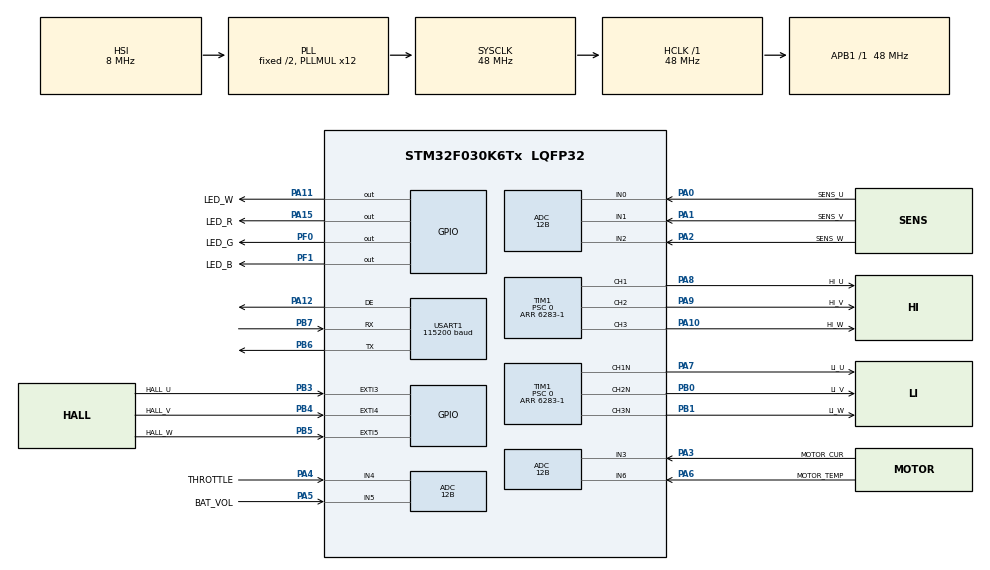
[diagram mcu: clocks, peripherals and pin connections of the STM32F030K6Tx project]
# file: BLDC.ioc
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ADC.ClockPrescaler=ADC_CLOCK_ASYNC_DIV1
ADC.ContinuousConvMode=ENABLE
ADC.DMAContinuousRequests=ENABLE
ADC.DataAlign=ADC_DATAALIGN_RIGHT
ADC.DiscontinuousConvMode=DISABLE
ADC.EOCSelection=ADC_EOC_SINGLE_CONV
ADC.EnableAnalogWatchDog=false
ADC.ExternalTrigConv=ADC_SOFTWARE_START
ADC.ExternalTrigConvEdge=ADC_EXTERNALTRIGCONVEDGE_NONE
ADC.LowPowerAutoPowerOff=DISABLE
ADC.LowPowerAutoWait=DISABLE
ADC.Overrun=ADC_OVR_DATA_PRESERVED
ADC.Resolution=ADC_RESOLUTION_12B
ADC.SamplingTime=ADC_SAMPLETIME_239CYCLES_5
ADC.ScanConvMode=ADC_SCAN_DIRECTION_FORWARD
Dma.ADC.0.Direction=DMA_PERIPH_TO_MEMORY
Dma.ADC.0.Instance=DMA1_Channel1
Dma.ADC.0.MemDataAlignment=DMA_MDATAALIGN_HALFWORD
Dma.ADC.0.MemInc=DMA_MINC_ENABLE
Dma.ADC.0.Mode=DMA_CIRCULAR
Dma.ADC.0.PeriphDataAlignment=DMA_PDATAALIGN_HALFWORD
Dma.ADC.0.PeriphInc=DMA_PINC_DISABLE
Dma.ADC.0.Priority=DMA_PRIORITY_LOW
Dma.Request0=ADC
Mcu.Family=STM32F0
Mcu.Name=STM32F030K6Tx
Mcu.Package=LQFP32
NVIC.DMA1_Channel1_IRQn=true\:0\:0\:false\:false\:true\:false
NVIC.EXTI2_3_IRQn=true\:0\:0\:false\:false\:true\:true
NVIC.EXTI4_15_IRQn=true\:0\:0\:false\:false\:true\:true
PA0.GPIO_Label=SENS_U
PA0.Mode=IN0
PA0.Signal=ADC_IN0
PA1.GPIO_Label=SENS_V
PA1.Mode=IN1
PA1.Signal=ADC_IN1
PA10.GPIO_Label=HI_W
PA10.GPIO_ModeDefaultPP=GPIO_MODE_AF_PP
PA10.GPIO_PuPd=GPIO_PULLDOWN
PA10.GPIO_Speed=GPIO_SPEED_FREQ_HIGH
PA10.Signal=S_TIM1_CH3
PA11.GPIO_Label=LED_W
PA11.GPIO_Speed=GPIO_SPEED_FREQ_HIGH
PA11.Signal=GPIO_Output
PA12.Mode=Hardware Flow Control (RS485)
PA12.Signal=USART1_DE
PA13.Mode=Serial_Wire
PA13.Signal=SYS_SWDIO
PA14.Mode=Serial_Wire
PA14.Signal=SYS_SWCLK
PA15.GPIO_Label=LED_R
PA15.GPIO_PuPd=GPIO_NOPULL
PA15.GPIO_Speed=GPIO_SPEED_FREQ_HIGH
PA15.Signal=GPIO_Output
PA2.GPIO_Label=SENS_W
PA2.Mode=IN2
PA2.Signal=ADC_IN2
PA3.GPIO_Label=MOTOR_CUR
PA3.Mode=IN3
PA3.Signal=ADC_IN3
PA4.GPIO_Label=THROTTLE
PA4.Mode=IN4
PA4.Signal=ADC_IN4
PA5.GPIO_Label=BAT_VOL
PA5.Mode=IN5
PA5.Signal=ADC_IN5
PA6.GPIO_Label=MOTOR_TEMP
PA6.Mode=IN6
PA6.Signal=ADC_IN6
PA7.GPIO_Label=LI_U
PA7.GPIO_ModeDefaultPP=GPIO_MODE_AF_PP
PA7.GPIO_PuPd=GPIO_PULLDOWN
PA7.GPIO_Speed=GPIO_SPEED_FREQ_HIGH
PA7.Mode=PWM Generation1 CH1 CH1N
PA7.Signal=TIM1_CH1N
PA8.GPIO_Label=HI_U
PA8.GPIO_ModeDefaultPP=GPIO_MODE_AF_PP
PA8.GPIO_PuPd=GPIO_PULLDOWN
PA8.GPIO_Speed=GPIO_SPEED_FREQ_HIGH
PA8.Signal=S_TIM1_CH1
PA9.GPIO_Label=HI_V
PA9.GPIO_ModeDefaultPP=GPIO_MODE_AF_PP
PA9.GPIO_PuPd=GPIO_PULLDOWN
PA9.GPIO_Speed=GPIO_SPEED_FREQ_HIGH
PA9.Signal=S_TIM1_CH2
PB0.GPIO_Label=LI_V
PB0.GPIO_ModeDefaultPP=GPIO_MODE_AF_PP
PB0.GPIO_PuPd=GPIO_PULLDOWN
PB0.GPIO_Speed=GPIO_SPEED_FREQ_HIGH
PB0.Mode=PWM Generation2 CH2 CH2N
PB0.Signal=TIM1_CH2N
PB1.GPIO_Label=LI_W
PB1.GPIO_ModeDefaultPP=GPIO_MODE_AF_PP
PB1.GPIO_PuPd=GPIO_PULLDOWN
PB1.GPIO_Speed=GPIO_SPEED_FREQ_HIGH
PB1.Mode=PWM Generation3 CH3 CH3N
PB1.Signal=TIM1_CH3N
PB3.GPIO_Label=HALL_U
PB3.GPIO_ModeDefaultEXTI=GPIO_MODE_IT_RISING_FALLING
PB3.GPIO_PuPd=GPIO_PULLUP
PB3.Signal=GPXTI3
PB4.GPIO_Label=HALL_V
PB4.GPIO_ModeDefaultEXTI=GPIO_MODE_IT_RISING_FALLING
PB4.GPIO_PuPd=GPIO_PULLUP
PB4.Signal=GPXTI4
PB5.GPIO_Label=HALL_W
PB5.GPIO_ModeDefaultEXTI=GPIO_MODE_IT_RISING_FALLING
PB5.GPIO_PuPd=GPIO_PULLUP
PB5.Signal=GPXTI5
PB6.Mode=Asynchronous
PB6.Signal=USART1_TX
PB7.Mode=Asynchronous
PB7.Signal=USART1_RX
PF0-OSC_IN.GPIO_Label=LED_G
PF0-OSC_IN.GPIO_Speed=GPIO_SPEED_FREQ_HIGH
PF0-OSC_IN.Signal=GPIO_Output
PF1-OSC_OUT.GPIO_Label=LED_B
PF1-OSC_OUT.GPIO_Speed=GPIO_SPEED_FREQ_HIGH
PF1-OSC_OUT.Signal=GPIO_Output
ProjectManager.HeapSize=0x200
ProjectManager.StackSize=0x400
ProjectManager.TargetToolchain=MDK-ARM V5
RCC.AHBFreq_Value=48000000
RCC.APB1Freq_Value=48000000
RCC.APB1TimFreq_Value=48000000
RCC.HCLKFreq_Value=48000000
RCC.PLLMUL=RCC_PLL_MUL12
RCC.SYSCLKFreq_VALUE=48000000
RCC.SYSCLKSource=RCC_SYSCLKSOURCE_PLLCLK
SH.S_TIM1_CH1.0=TIM1_CH1,PWM Generation1 CH1 CH1N
SH.S_TIM1_CH2.0=TIM1_CH2,PWM Generation2 CH2 CH2N
SH.S_TIM1_CH3.0=TIM1_CH3,PWM Generation3 CH3 CH3N
TIM1.AutomaticOutput=TIM_AUTOMATICOUTPUT_ENABLE
TIM1.BreakState=TIM_BREAK_DISABLE
TIM1.Channel-PWM\ Generation1\ CH1\ CH1N=TIM_CHANNEL_1
TIM1.Channel-PWM\ Generation2\ CH2\ CH2N=TIM_CHANNEL_2
TIM1.Channel-PWM\ Generation3\ CH3\ CH3N=TIM_CHANNEL_3
TIM1.DeadTime=0
TIM1.OCFastMode_PWM-PWM\ Generation1\ CH1\ CH1N=TIM_OCFAST_ENABLE
TIM1.OCFastMode_PWM-PWM\ Generation2\ CH2\ CH2N=TIM_OCFAST_ENABLE
TIM1.OCFastMode_PWM-PWM\ Generation3\ CH3\ CH3N=TIM_OCFAST_ENABLE
TIM1.OCMode_PWM-PWM\ Generation3\ CH3\ CH3N=TIM_OCMODE_PWM1
TIM1.OffStateIDLEMode=TIM_OSSI_ENABLE
TIM1.OffStateRunMode=TIM_OSSR_ENABLE
TIM1.Period=6283-1
TIM1.Prescaler=0
TIM1.Pulse-PWM\ Generation1\ CH1\ CH1N=0
TIM1.Pulse-PWM\ Generation2\ CH2\ CH2N=0
TIM1.Pulse-PWM\ Generation3\ CH3\ CH3N=0
TIM14.Period=65536-1
TIM14.Prescaler=48-1
USART1.BaudRate=115200
USART1.VirtualMode-Asynchronous=VM_ASYNC
USART1.VirtualMode-Hardware\ Flow\ Control\ (RS485)=VM_ASYNC
VP_ADC_TempSens_Input.Mode=IN-TempSens
VP_ADC_Vref_Input.Mode=IN-Vrefint
VP_TIM14_VS_ClockSourceINT.Mode=Enable_Timer
board=custom

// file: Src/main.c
/**
  ******************************************************************************
  * @file           : main.c
  * @brief          : Main program body
  ******************************************************************************
  ** This notice applies to any and all portions of this file
  * that are not between comment pairs USER CODE BEGIN and
  * USER CODE END. Other portions of this file, whether
  * inserted by the user or by software development tools
  * are owned by their respective copyright owners.
  *
  * COPYRIGHT(c) 2018 STMicroelectronics
  *
  * Redistribution and use in source and binary forms, with or without modification,
  * are permitted provided that the following conditions are met:
  *   1. Redistributions of source code must retain the above copyright notice,
  *      this list of conditions and the following disclaimer.
  *   2. Redistributions in binary form must reproduce the above copyright notice,
  *      this list of conditions and the following disclaimer in the documentation
  *      and/or other materials provided with the distribution.
  *   3. Neither the name of STMicroelectronics nor the names of its contributors
  *      may be used to endorse or promote products derived from this software
  *      without specific prior written permission.
  *
  * THIS SOFTWARE IS PROVIDED BY THE COPYRIGHT HOLDERS AND CONTRIBUTORS "AS IS"
  * AND ANY EXPRESS OR IMPLIED WARRANTIES, INCLUDING, BUT NOT LIMITED TO, THE
  * IMPLIED WARRANTIES OF MERCHANTABILITY AND FITNESS FOR A PARTICULAR PURPOSE ARE
  * DISCLAIMED. IN NO EVENT SHALL THE COPYRIGHT HOLDER OR CONTRIBUTORS BE LIABLE
  * FOR ANY DIRECT, INDIRECT, INCIDENTAL, SPECIAL, EXEMPLARY, OR CONSEQUENTIAL
  * DAMAGES (INCLUDING, BUT NOT LIMITED TO, PROCUREMENT OF SUBSTITUTE GOODS OR
  * SERVICES; LOSS OF USE, DATA, OR PROFITS; OR BUSINESS INTERRUPTION) HOWEVER
  * CAUSED AND ON ANY THEORY OF LIABILITY, WHETHER IN CONTRACT, STRICT LIABILITY,
  * OR TORT (INCLUDING NEGLIGENCE OR OTHERWISE) ARISING IN ANY WAY OUT OF THE USE
  * OF THIS SOFTWARE, EVEN IF ADVISED OF THE POSSIBILITY OF SUCH DAMAGE.
  *
  ******************************************************************************
  */
#include "main.h"
#include "stm32f0xx_hal.h"

ADC_HandleTypeDef hadc;
DMA_HandleTypeDef hdma_adc;

TIM_HandleTypeDef htim1;
TIM_HandleTypeDef htim14;

UART_HandleTypeDef huart1;

/* USER CODE BEGIN PV */
/* Private variables ---------------------------------------------------------*/

/* USER CODE END PV */

void SystemClock_Config(void);
static void MX_GPIO_Init(void);
static void MX_DMA_Init(void);
static void MX_ADC_Init(void);
static void MX_TIM1_Init(void);
static void MX_USART1_UART_Init(void);
static void MX_TIM14_Init(void);

void HAL_TIM_MspPostInit(TIM_HandleTypeDef *htim);

/* USER CODE BEGIN PFP */
/* Private function prototypes -----------------------------------------------*/

uint16_t adc_value[16];
uint16_t motor_rpm_raw;
uint16_t motor_cur;
uint16_t motor_cur;
uint16_t motor_throttle;

/* USER CODE END PFP */

/* USER CODE BEGIN 0 */

int fputc(int ch, FILE *f){
	uint8_t t = ch;
	HAL_UART_Transmit(&huart1, (uint8_t *)&t, 1, 4);
	return 1;
}

void motor_loop(){
	uint8_t hall_status;

	hall_status =	HAL_GPIO_ReadPin(HALL_U_GPIO_Port, HALL_U_Pin) << 0 |
								HAL_GPIO_ReadPin(HALL_V_GPIO_Port, HALL_V_Pin) << 1 |
								HAL_GPIO_ReadPin(HALL_W_GPIO_Port, HALL_W_Pin) << 2;

	int t = 0;
	if(adc_value[4] < 500){ // 400mv
		htim1.Instance->CCER = 0;
		return;
	}else if(adc_value[4] >= 2500){
		t = 2500;
	}else{
		t = adc_value[4] - 500;
	}

	motor_throttle = t>>3;
	int d = motor_throttle;

	switch(hall_status){
		case 5:
			htim1.Instance->CCR2 = 314-d;
			htim1.Instance->CCR3 = 314+d;
			htim1.Instance->CCER = 0x550;
			htim1.Instance->CCR1 = 314;
			break;
		case 4:
			htim1.Instance->CCR1 = 314-d;
			htim1.Instance->CCR3 = 314+d;
			htim1.Instance->CCER = 0x505;
			htim1.Instance->CCR2 = 314;
			break;
		case 6:
			htim1.Instance->CCR1 = 314-d;
			htim1.Instance->CCR2 = 314+d;
			htim1.Instance->CCER = 0x055;
			htim1.Instance->CCR3 = 314;
			break;
		case 2:
			htim1.Instance->CCR3 = 314-d;
			htim1.Instance->CCR2 = 314+d;
			htim1.Instance->CCER = 0x550;
			htim1.Instance->CCR1 = 314;
			break;
		case 3:
			htim1.Instance->CCR3 = 314-d;
			htim1.Instance->CCR1 = 314+d;
			htim1.Instance->CCER = 0x505;
			htim1.Instance->CCR2 = 314;
			break;
		case 1:
			htim1.Instance->CCR2 = 314-d;
			htim1.Instance->CCR1 = 314+d;
			htim1.Instance->CCER = 0x055;
			htim1.Instance->CCR3 = 314;
			break;
	}
}

void HAL_GPIO_EXTI_Callback(uint16_t GPIO_Pin){

	switch(GPIO_Pin){
		case HALL_U_Pin:
		case HALL_V_Pin:
		case HALL_W_Pin:
			motor_loop();

			motor_rpm_raw = __HAL_TIM_GET_COUNTER(&htim14);
			//__HAL_TIM_SET_PRESCALER(&htim1, (motor_rpm_raw>>8)+8);
			__HAL_TIM_SET_COUNTER(&htim14, 0);
			break;
	}

	switch(GPIO_Pin){
		case HALL_U_Pin:
			HAL_GPIO_WritePin(LED_R_GPIO_Port, LED_R_Pin, HAL_GPIO_ReadPin(HALL_U_GPIO_Port, HALL_U_Pin));
			break;
		case HALL_V_Pin:
			HAL_GPIO_WritePin(LED_G_GPIO_Port, LED_G_Pin, HAL_GPIO_ReadPin(HALL_V_GPIO_Port, HALL_V_Pin));
			break;
		case HALL_W_Pin:
			HAL_GPIO_WritePin(LED_B_GPIO_Port, LED_B_Pin, HAL_GPIO_ReadPin(HALL_W_GPIO_Port, HALL_W_Pin));
			break;
	}
}

/* USER CODE END 0 */

int main(void)
{

  /* MCU Configuration----------------------------------------------------------*/

  /* Reset of all peripherals, Initializes the Flash interface and the Systick. */
  HAL_Init();

  /* Configure the system clock */
  SystemClock_Config();

  /* Initialize all configured peripherals */
  MX_GPIO_Init();
  MX_DMA_Init();
  MX_ADC_Init();
  MX_TIM1_Init();
  MX_USART1_UART_Init();
  MX_TIM14_Init();
  /* USER CODE BEGIN 2 */

	HAL_ADC_Start_DMA(&hadc, (uint32_t*)&adc_value, 9); //Start ADC

	HAL_TIM_Base_Start(&htim14);

	HAL_TIM_PWM_Start(&htim1, TIM_CHANNEL_1);
	HAL_TIM_PWM_Start(&htim1, TIM_CHANNEL_2);
	HAL_TIM_PWM_Start(&htim1, TIM_CHANNEL_3);
	HAL_TIMEx_PWMN_Start(&htim1, TIM_CHANNEL_1);
	HAL_TIMEx_PWMN_Start(&htim1, TIM_CHANNEL_2);
	HAL_TIMEx_PWMN_Start(&htim1, TIM_CHANNEL_3);
	htim1.Instance->CCER = 0x555;

  /* USER CODE END 2 */

  /* Infinite loop */
  /* USER CODE BEGIN WHILE */
  while (1)
  {
		motor_loop();//active motor

  /* USER CODE END WHILE */

  /* USER CODE BEGIN 3 */

//		for(int i=0;i<9;i++) printf("%4d ", adc_value[i]);
//		uint16_t motor_rpm =  (1000000*60) / (motor_rpm_raw*24);
//		printf("%4d %4d %6d\n\r", motor_throttle, motor_rpm, (motor_rpm_raw>>8)+4);
//		HAL_Delay(250);
		HAL_GPIO_TogglePin(LED_W_GPIO_Port, LED_W_Pin);
		//
  }
  /* USER CODE END 3 */

}

void SystemClock_Config(void)
{

  RCC_OscInitTypeDef RCC_OscInitStruct;
  RCC_ClkInitTypeDef RCC_ClkInitStruct;
  RCC_PeriphCLKInitTypeDef PeriphClkInit;

    /**Initializes the CPU, AHB and APB busses clocks
    */
  RCC_OscInitStruct.OscillatorType = RCC_OSCILLATORTYPE_HSI|RCC_OSCILLATORTYPE_HSI14;
  RCC_OscInitStruct.HSIState = RCC_HSI_ON;
  RCC_OscInitStruct.HSI14State = RCC_HSI14_ON;
  RCC_OscInitStruct.HSICalibrationValue = 16;
  RCC_OscInitStruct.HSI14CalibrationValue = 16;
  RCC_OscInitStruct.PLL.PLLState = RCC_PLL_ON;
  RCC_OscInitStruct.PLL.PLLSource = RCC_PLLSOURCE_HSI;
  RCC_OscInitStruct.PLL.PLLMUL = RCC_PLL_MUL12;
  RCC_OscInitStruct.PLL.PREDIV = RCC_PREDIV_DIV1;
  if (HAL_RCC_OscConfig(&RCC_OscInitStruct) != HAL_OK)
  {
    _Error_Handler(__FILE__, __LINE__);
  }

    /**Initializes the CPU, AHB and APB busses clocks
    */
  RCC_ClkInitStruct.ClockType = RCC_CLOCKTYPE_HCLK|RCC_CLOCKTYPE_SYSCLK
                              |RCC_CLOCKTYPE_PCLK1;
  RCC_ClkInitStruct.SYSCLKSource = RCC_SYSCLKSOURCE_PLLCLK;
  RCC_ClkInitStruct.AHBCLKDivider = RCC_SYSCLK_DIV1;
  RCC_ClkInitStruct.APB1CLKDivider = RCC_HCLK_DIV1;

  if (HAL_RCC_ClockConfig(&RCC_ClkInitStruct, FLASH_LATENCY_1) != HAL_OK)
  {
    _Error_Handler(__FILE__, __LINE__);
  }

  PeriphClkInit.PeriphClockSelection = RCC_PERIPHCLK_USART1;
  PeriphClkInit.Usart1ClockSelection = RCC_USART1CLKSOURCE_PCLK1;
  if (HAL_RCCEx_PeriphCLKConfig(&PeriphClkInit) != HAL_OK)
  {
    _Error_Handler(__FILE__, __LINE__);
  }

    /**Configure the Systick interrupt time
    */
  HAL_SYSTICK_Config(HAL_RCC_GetHCLKFreq()/1000);

    /**Configure the Systick
    */
  HAL_SYSTICK_CLKSourceConfig(SYSTICK_CLKSOURCE_HCLK);

  /* SysTick_IRQn interrupt configuration */
  HAL_NVIC_SetPriority(SysTick_IRQn, 0, 0);
}

/* ADC init function */
static void MX_ADC_Init(void)
{

  ADC_ChannelConfTypeDef sConfig;

    /**Configure the global features of the ADC (Clock, Resolution, Data Alignment and number of conversion)
    */
  hadc.Instance = ADC1;
  hadc.Init.ClockPrescaler = ADC_CLOCK_ASYNC_DIV1;
  hadc.Init.Resolution = ADC_RESOLUTION_12B;
  hadc.Init.DataAlign = ADC_DATAALIGN_RIGHT;
  hadc.Init.ScanConvMode = ADC_SCAN_DIRECTION_FORWARD;
  hadc.Init.EOCSelection = ADC_EOC_SINGLE_CONV;
  hadc.Init.LowPowerAutoWait = DISABLE;
  hadc.Init.LowPowerAutoPowerOff = DISABLE;
  hadc.Init.ContinuousConvMode = ENABLE;
  hadc.Init.DiscontinuousConvMode = DISABLE;
  hadc.Init.ExternalTrigConv = ADC_SOFTWARE_START;
  hadc.Init.ExternalTrigConvEdge = ADC_EXTERNALTRIGCONVEDGE_NONE;
  hadc.Init.DMAContinuousRequests = ENABLE;
  hadc.Init.Overrun = ADC_OVR_DATA_PRESERVED;
  if (HAL_ADC_Init(&hadc) != HAL_OK)
  {
    _Error_Handler(__FILE__, __LINE__);
  }

    /**Configure for the selected ADC regular channel to be converted.
    */
  sConfig.Channel = ADC_CHANNEL_0;
  sConfig.Rank = ADC_RANK_CHANNEL_NUMBER;
  sConfig.SamplingTime = ADC_SAMPLETIME_239CYCLES_5;
  if (HAL_ADC_ConfigChannel(&hadc, &sConfig) != HAL_OK)
  {
    _Error_Handler(__FILE__, __LINE__);
  }

    /**Configure for the selected ADC regular channel to be converted.
    */
  sConfig.Channel = ADC_CHANNEL_1;
  if (HAL_ADC_ConfigChannel(&hadc, &sConfig) != HAL_OK)
  {
    _Error_Handler(__FILE__, __LINE__);
  }

    /**Configure for the selected ADC regular channel to be converted.
    */
  sConfig.Channel = ADC_CHANNEL_2;
  if (HAL_ADC_ConfigChannel(&hadc, &sConfig) != HAL_OK)
  {
    _Error_Handler(__FILE__, __LINE__);
  }

    /**Configure for the selected ADC regular channel to be converted.
    */
  sConfig.Channel = ADC_CHANNEL_3;
  if (HAL_ADC_ConfigChannel(&hadc, &sConfig) != HAL_OK)
  {
    _Error_Handler(__FILE__, __LINE__);
  }

    /**Configure for the selected ADC regular channel to be converted.
    */
  sConfig.Channel = ADC_CHANNEL_4;
  if (HAL_ADC_ConfigChannel(&hadc, &sConfig) != HAL_OK)
  {
    _Error_Handler(__FILE__, __LINE__);
  }

    /**Configure for the selected ADC regular channel to be converted.
    */
  sConfig.Channel = ADC_CHANNEL_5;
  if (HAL_ADC_ConfigChannel(&hadc, &sConfig) != HAL_OK)
  {
    _Error_Handler(__FILE__, __LINE__);
  }

    /**Configure for the selected ADC regular channel to be converted.
    */
  sConfig.Channel = ADC_CHANNEL_6;
  if (HAL_ADC_ConfigChannel(&hadc, &sConfig) != HAL_OK)
  {
    _Error_Handler(__FILE__, __LINE__);
  }

    /**Configure for the selected ADC regular channel to be converted.
    */
  sConfig.Channel = ADC_CHANNEL_TEMPSENSOR;
  if (HAL_ADC_ConfigChannel(&hadc, &sConfig) != HAL_OK)
  {
    _Error_Handler(__FILE__, __LINE__);
  }

    /**Configure for the selected ADC regular channel to be converted.
    */
  sConfig.Channel = ADC_CHANNEL_VREFINT;
  if (HAL_ADC_ConfigChannel(&hadc, &sConfig) != HAL_OK)
  {
    _Error_Handler(__FILE__, __LINE__);
  }

}

/* TIM1 init function */
static void MX_TIM1_Init(void)
{

  TIM_MasterConfigTypeDef sMasterConfig;
  TIM_OC_InitTypeDef sConfigOC;
  TIM_BreakDeadTimeConfigTypeDef sBreakDeadTimeConfig;

  htim1.Instance = TIM1;
  htim1.Init.Prescaler = 4-1;
  htim1.Init.CounterMode = TIM_COUNTERMODE_UP;
  htim1.Init.Period = 628-1;
  htim1.Init.ClockDivision = TIM_CLOCKDIVISION_DIV1;
  htim1.Init.RepetitionCounter = 0;
  htim1.Init.AutoReloadPreload = TIM_AUTORELOAD_PRELOAD_DISABLE;
  if (HAL_TIM_PWM_Init(&htim1) != HAL_OK)
  {
    _Error_Handler(__FILE__, __LINE__);
  }

  sMasterConfig.MasterOutputTrigger = TIM_TRGO_RESET;
  sMasterConfig.MasterSlaveMode = TIM_MASTERSLAVEMODE_DISABLE;
  if (HAL_TIMEx_MasterConfigSynchronization(&htim1, &sMasterConfig) != HAL_OK)
  {
    _Error_Handler(__FILE__, __LINE__);
  }

  sConfigOC.OCMode = TIM_OCMODE_PWM1;
  sConfigOC.Pulse = 0;
  sConfigOC.OCPolarity = TIM_OCPOLARITY_HIGH;
  sConfigOC.OCNPolarity = TIM_OCNPOLARITY_HIGH;
  sConfigOC.OCFastMode = TIM_OCFAST_ENABLE;
  sConfigOC.OCIdleState = TIM_OCIDLESTATE_RESET;
  sConfigOC.OCNIdleState = TIM_OCNIDLESTATE_RESET;
  if (HAL_TIM_PWM_ConfigChannel(&htim1, &sConfigOC, TIM_CHANNEL_1) != HAL_OK)
  {
    _Error_Handler(__FILE__, __LINE__);
  }

  if (HAL_TIM_PWM_ConfigChannel(&htim1, &sConfigOC, TIM_CHANNEL_2) != HAL_OK)
  {
    _Error_Handler(__FILE__, __LINE__);
  }

  if (HAL_TIM_PWM_ConfigChannel(&htim1, &sConfigOC, TIM_CHANNEL_3) != HAL_OK)
  {
    _Error_Handler(__FILE__, __LINE__);
  }

  sBreakDeadTimeConfig.OffStateRunMode = TIM_OSSR_ENABLE;
  sBreakDeadTimeConfig.OffStateIDLEMode = TIM_OSSI_ENABLE;
  sBreakDeadTimeConfig.LockLevel = TIM_LOCKLEVEL_OFF;
  sBreakDeadTimeConfig.DeadTime = 0x10;
  sBreakDeadTimeConfig.BreakState = TIM_BREAK_DISABLE;
  sBreakDeadTimeConfig.BreakPolarity = TIM_BREAKPOLARITY_HIGH;
  sBreakDeadTimeConfig.AutomaticOutput = TIM_AUTOMATICOUTPUT_ENABLE;
  if (HAL_TIMEx_ConfigBreakDeadTime(&htim1, &sBreakDeadTimeConfig) != HAL_OK)
  {
    _Error_Handler(__FILE__, __LINE__);
  }

  HAL_TIM_MspPostInit(&htim1);

}

/* TIM14 init function */
static void MX_TIM14_Init(void)
{

  htim14.Instance = TIM14;
  htim14.Init.Prescaler = 48-1;
  htim14.Init.CounterMode = TIM_COUNTERMODE_UP;
  htim14.Init.Period = 65536-1;
  htim14.Init.ClockDivision = TIM_CLOCKDIVISION_DIV1;
  htim14.Init.AutoReloadPreload = TIM_AUTORELOAD_PRELOAD_DISABLE;
  if (HAL_TIM_Base_Init(&htim14) != HAL_OK)
  {
    _Error_Handler(__FILE__, __LINE__);
  }

}

/* USART1 init function */
static void MX_USART1_UART_Init(void)
{

  huart1.Instance = USART1;
  huart1.Init.BaudRate = 115200;
  huart1.Init.WordLength = UART_WORDLENGTH_8B;
  huart1.Init.StopBits = UART_STOPBITS_1;
  huart1.Init.Parity = UART_PARITY_NONE;
  huart1.Init.Mode = UART_MODE_TX_RX;
  huart1.Init.HwFlowCtl = UART_HWCONTROL_NONE;
  huart1.Init.OverSampling = UART_OVERSAMPLING_16;
  huart1.Init.OneBitSampling = UART_ONE_BIT_SAMPLE_DISABLE;
  huart1.AdvancedInit.AdvFeatureInit = UART_ADVFEATURE_NO_INIT;
  if (HAL_RS485Ex_Init(&huart1, UART_DE_POLARITY_HIGH, 0, 0) != HAL_OK)
  {
    _Error_Handler(__FILE__, __LINE__);
  }

}

static void MX_DMA_Init(void)
{
  /* DMA controller clock enable */
  __HAL_RCC_DMA1_CLK_ENABLE();

  /* DMA interrupt init */
  /* DMA1_Channel1_IRQn interrupt configuration */
  HAL_NVIC_SetPriority(DMA1_Channel1_IRQn, 0, 0);
  HAL_NVIC_EnableIRQ(DMA1_Channel1_IRQn);

}

/** Configure pins as
        * Analog
        * Input
        * Output
        * EVENT_OUT
        * EXTI
*/
static void MX_GPIO_Init(void)
{

  GPIO_InitTypeDef GPIO_InitStruct;

  /* GPIO Ports Clock Enable */
  __HAL_RCC_GPIOF_CLK_ENABLE();
  __HAL_RCC_GPIOA_CLK_ENABLE();
  __HAL_RCC_GPIOB_CLK_ENABLE();

  /*Configure GPIO pin Output Level */
  HAL_GPIO_WritePin(GPIOF, LED_G_Pin|LED_B_Pin, GPIO_PIN_RESET);

  /*Configure GPIO pin Output Level */
  HAL_GPIO_WritePin(GPIOA, LED_W_Pin|LED_R_Pin, GPIO_PIN_RESET);

  /*Configure GPIO pins : LED_G_Pin LED_B_Pin */
  GPIO_InitStruct.Pin = LED_G_Pin|LED_B_Pin;
  GPIO_InitStruct.Mode = GPIO_MODE_OUTPUT_PP;
  GPIO_InitStruct.Pull = GPIO_NOPULL;
  GPIO_InitStruct.Speed = GPIO_SPEED_FREQ_HIGH;
  HAL_GPIO_Init(GPIOF, &GPIO_InitStruct);

  /*Configure GPIO pins : LED_W_Pin LED_R_Pin */
  GPIO_InitStruct.Pin = LED_W_Pin|LED_R_Pin;
  GPIO_InitStruct.Mode = GPIO_MODE_OUTPUT_PP;
  GPIO_InitStruct.Pull = GPIO_NOPULL;
  GPIO_InitStruct.Speed = GPIO_SPEED_FREQ_HIGH;
  HAL_GPIO_Init(GPIOA, &GPIO_InitStruct);

  /*Configure GPIO pins : HALL_U_Pin HALL_V_Pin HALL_W_Pin */
  GPIO_InitStruct.Pin = HALL_U_Pin|HALL_V_Pin|HALL_W_Pin;
  GPIO_InitStruct.Mode = GPIO_MODE_IT_RISING_FALLING;
  GPIO_InitStruct.Pull = GPIO_PULLUP;
  HAL_GPIO_Init(GPIOB, &GPIO_InitStruct);

  /* EXTI interrupt init*/
  HAL_NVIC_SetPriority(EXTI2_3_IRQn, 0, 0);
  HAL_NVIC_EnableIRQ(EXTI2_3_IRQn);

  HAL_NVIC_SetPriority(EXTI4_15_IRQn, 0, 0);
  HAL_NVIC_EnableIRQ(EXTI4_15_IRQn);

}

void _Error_Handler(char *file, int line)
{
  while(1)
  {
  }
}

/************************ (C) COPYRIGHT STMicroelectronics *****END OF FILE****/
